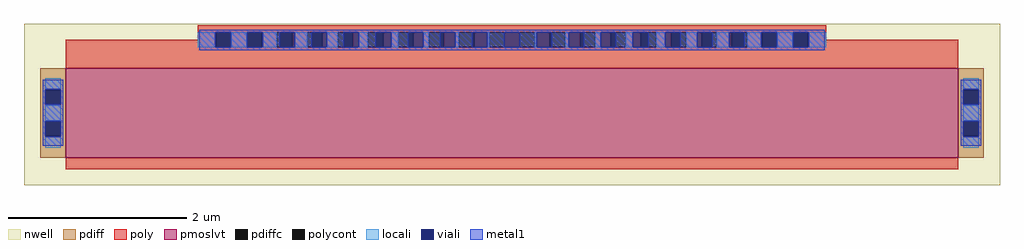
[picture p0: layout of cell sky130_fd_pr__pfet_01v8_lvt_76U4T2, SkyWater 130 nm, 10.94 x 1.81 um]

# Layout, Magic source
magic
tech sky130A
magscale 1 2
<< nwell >>
rect -1094 -198 1094 164
<< pmoslvt >>
rect -1000 -136 1000 64
<< pdiff >>
rect -1058 15 -1000 64
rect -1058 -19 -1046 15
rect -1012 -19 -1000 15
rect -1058 -53 -1000 -19
rect -1058 -87 -1046 -53
rect -1012 -87 -1000 -53
rect -1058 -136 -1000 -87
rect 1000 15 1058 64
rect 1000 -19 1012 15
rect 1046 -19 1058 15
rect 1000 -53 1058 -19
rect 1000 -87 1012 -53
rect 1046 -87 1058 -53
rect 1000 -136 1058 -87
<< pdiffc >>
rect -1046 -19 -1012 15
rect -1046 -87 -1012 -53
rect 1012 -19 1046 15
rect 1012 -87 1046 -53
<< poly >>
rect -705 145 705 161
rect -705 128 -663 145
rect -1000 111 -663 128
rect -629 111 -595 145
rect -561 111 -527 145
rect -493 111 -459 145
rect -425 111 -391 145
rect -357 111 -323 145
rect -289 111 -255 145
rect -221 111 -187 145
rect -153 111 -119 145
rect -85 111 -51 145
rect -17 111 17 145
rect 51 111 85 145
rect 119 111 153 145
rect 187 111 221 145
rect 255 111 289 145
rect 323 111 357 145
rect 391 111 425 145
rect 459 111 493 145
rect 527 111 561 145
rect 595 111 629 145
rect 663 128 705 145
rect 663 111 1000 128
rect -1000 64 1000 111
rect -1000 -162 1000 -136
<< polycont >>
rect -663 111 -629 145
rect -595 111 -561 145
rect -527 111 -493 145
rect -459 111 -425 145
rect -391 111 -357 145
rect -323 111 -289 145
rect -255 111 -221 145
rect -187 111 -153 145
rect -119 111 -85 145
rect -51 111 -17 145
rect 17 111 51 145
rect 85 111 119 145
rect 153 111 187 145
rect 221 111 255 145
rect 289 111 323 145
rect 357 111 391 145
rect 425 111 459 145
rect 493 111 527 145
rect 561 111 595 145
rect 629 111 663 145
<< locali >>
rect -705 111 -665 145
rect -629 111 -595 145
rect -559 111 -527 145
rect -487 111 -459 145
rect -415 111 -391 145
rect -343 111 -323 145
rect -271 111 -255 145
rect -199 111 -187 145
rect -127 111 -119 145
rect -55 111 -51 145
rect 51 111 55 145
rect 119 111 127 145
rect 187 111 199 145
rect 255 111 271 145
rect 323 111 343 145
rect 391 111 415 145
rect 459 111 487 145
rect 527 111 559 145
rect 595 111 629 145
rect 665 111 705 145
rect -1046 17 -1012 42
rect -1046 -53 -1012 -19
rect -1046 -114 -1012 -89
rect 1012 17 1046 42
rect 1012 -53 1046 -19
rect 1012 -114 1046 -89
<< viali >>
rect -665 111 -663 145
rect -663 111 -631 145
rect -593 111 -561 145
rect -561 111 -559 145
rect -521 111 -493 145
rect -493 111 -487 145
rect -449 111 -425 145
rect -425 111 -415 145
rect -377 111 -357 145
rect -357 111 -343 145
rect -305 111 -289 145
rect -289 111 -271 145
rect -233 111 -221 145
rect -221 111 -199 145
rect -161 111 -153 145
rect -153 111 -127 145
rect -89 111 -85 145
rect -85 111 -55 145
rect -17 111 17 145
rect 55 111 85 145
rect 85 111 89 145
rect 127 111 153 145
rect 153 111 161 145
rect 199 111 221 145
rect 221 111 233 145
rect 271 111 289 145
rect 289 111 305 145
rect 343 111 357 145
rect 357 111 377 145
rect 415 111 425 145
rect 425 111 449 145
rect 487 111 493 145
rect 493 111 521 145
rect 559 111 561 145
rect 561 111 593 145
rect 631 111 663 145
rect 663 111 665 145
rect -1046 15 -1012 17
rect -1046 -17 -1012 15
rect -1046 -87 -1012 -55
rect -1046 -89 -1012 -87
rect 1012 15 1046 17
rect 1012 -17 1046 15
rect 1012 -87 1046 -55
rect 1012 -89 1046 -87
<< metal1 >>
rect -701 145 701 151
rect -701 111 -665 145
rect -631 111 -593 145
rect -559 111 -521 145
rect -487 111 -449 145
rect -415 111 -377 145
rect -343 111 -305 145
rect -271 111 -233 145
rect -199 111 -161 145
rect -127 111 -89 145
rect -55 111 -17 145
rect 17 111 55 145
rect 89 111 127 145
rect 161 111 199 145
rect 233 111 271 145
rect 305 111 343 145
rect 377 111 415 145
rect 449 111 487 145
rect 521 111 559 145
rect 593 111 631 145
rect 665 111 701 145
rect -701 105 701 111
rect -1052 17 -1006 38
rect -1052 -17 -1046 17
rect -1012 -17 -1006 17
rect -1052 -55 -1006 -17
rect -1052 -89 -1046 -55
rect -1012 -89 -1006 -55
rect -1052 -110 -1006 -89
rect 1006 17 1052 38
rect 1006 -17 1012 17
rect 1046 -17 1052 17
rect 1006 -55 1052 -17
rect 1006 -89 1012 -55
rect 1046 -89 1052 -55
rect 1006 -110 1052 -89
<< end >>
